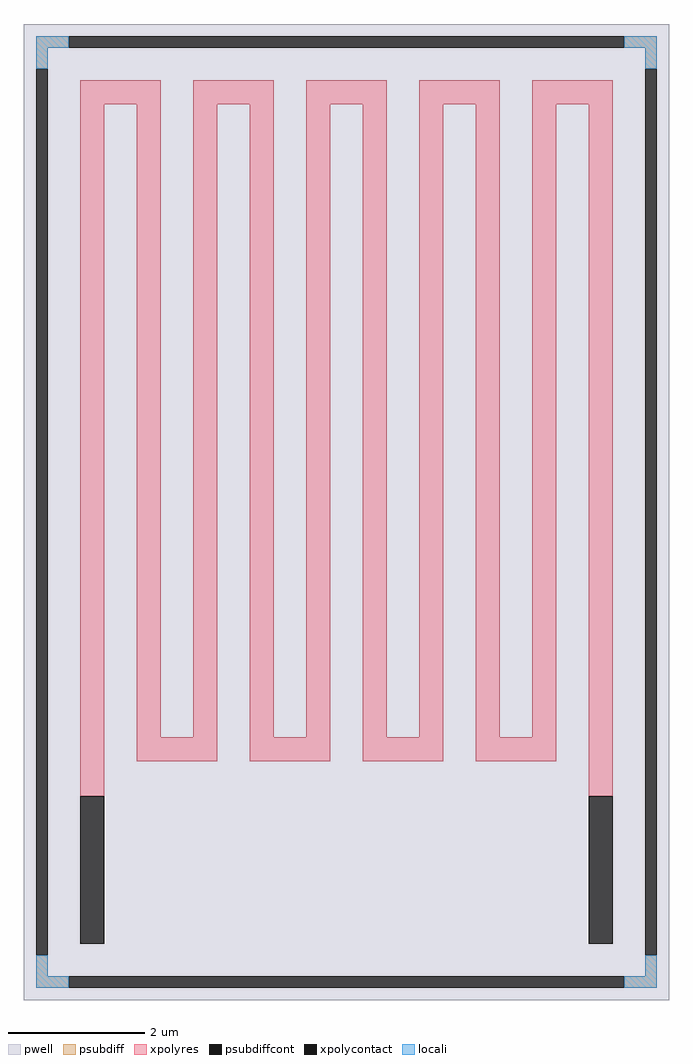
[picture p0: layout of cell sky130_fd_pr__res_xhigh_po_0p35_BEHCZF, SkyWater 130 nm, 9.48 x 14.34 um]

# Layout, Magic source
magic
tech sky130A
<< pwell >>
rect -474 -717 474 717
<< psubdiff >>
rect -456 682 -408 699
rect 408 682 456 699
rect -456 651 -439 682
rect 439 651 456 682
rect -456 -682 -439 -651
rect 439 -682 456 -651
rect -456 -699 -408 -682
rect 408 -699 456 -682
<< psubdiffcont >>
rect -408 682 408 699
rect -456 -651 -439 651
rect 439 -651 456 651
rect -408 -699 408 -682
<< xpolycontact >>
rect -391 -634 -356 -418
rect 356 -634 391 -418
<< xpolyres >>
rect -391 599 -273 634
rect -391 -418 -356 599
rect -308 -331 -273 599
rect -225 599 -107 634
rect -225 -331 -190 599
rect -308 -366 -190 -331
rect -142 -331 -107 599
rect -59 599 59 634
rect -59 -331 -24 599
rect -142 -366 -24 -331
rect 24 -331 59 599
rect 107 599 225 634
rect 107 -331 142 599
rect 24 -366 142 -331
rect 190 -331 225 599
rect 273 599 391 634
rect 273 -331 308 599
rect 190 -366 308 -331
rect 356 -418 391 599
<< locali >>
rect -456 682 -408 699
rect 408 682 456 699
rect -456 651 -439 682
rect 439 651 456 682
rect -456 -682 -439 -651
rect 439 -682 456 -651
rect -456 -699 -408 -682
rect 408 -699 456 -682
<< properties >>
string FIXED_BBOX -447 -690 447 690
string gencell sky130_fd_pr__res_xhigh_po_0p35
string library sky130
string parameters w 0.35 l 10 m 1 nx 10 wmin 0.350 lmin 0.50 rho 2000 val 590.504k dummy 0 dw 0.0 term 188.2 sterm 0.0 caplen 0 wmax 0.350 guard 1 glc 1 grc 1 gtc 1 gbc 1 compatible {sky130_fd_pr__res_xhigh_po_0p35  sky130_fd_pr__res_xhigh_po_0p69 sky130_fd_pr__res_xhigh_po_1p41  sky130_fd_pr__res_xhigh_po_2p85 sky130_fd_pr__res_xhigh_po_5p73} snake 1 full_metal 1 n_guard 0 hv_guard 0 vias 1 viagb 0 viagt 0 viagl 0 viagr 0
<< end >>
